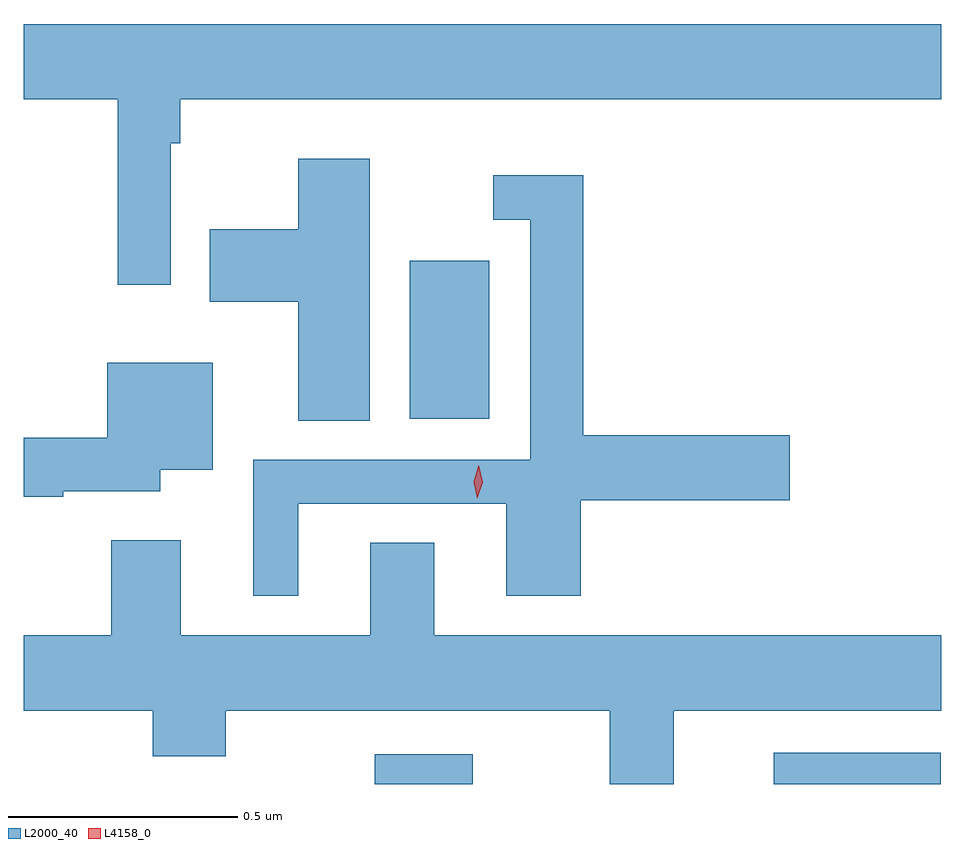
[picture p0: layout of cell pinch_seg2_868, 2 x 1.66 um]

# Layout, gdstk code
import gdstk
lib = gdstk.Library(unit=1e-6, precision=1e-09)
def R(c, l, rs):  # rectangles x0, y0, x1, y1
    for r in rs: c.add(gdstk.rectangle(r[:2], r[2:], *l))
def P(c, l, *ps):  # polygons
    for p in ps: c.add(gdstk.Polygon(p, *l))
L2000_40 = (2000, 40)
L4158_0 = (4158, 0)

pinch_seg2_868 = lib.new_cell('pinch_seg2_868')
R(pinch_seg2_868, L2000_40, [(826.389,622.168,826.603,622.233), (827.259,622.168,827.623,622.236), (826.466,622.964,826.639,623.308)])
P(pinch_seg2_868, L2000_40, [(825.945,623.564),(825.965,623.564),(825.965,623.66),(827.624,623.66),(827.624,623.824),(825.624,623.824),(825.624,623.66),(825.829,623.66),(825.829,623.256),(825.945,623.256)],
  [(826.378,623.53),(826.223,623.53),(826.223,623.377),(826.03,623.377),(826.03,623.219),(826.223,623.219),(826.223,622.96),(826.378,622.96)],
  [(826.222,622.779),(826.676,622.779),(826.676,622.578),(826.838,622.578),(826.838,622.786),(827.293,622.786),(827.293,622.928),(826.844,622.928),(826.844,623.494),(826.647,623.494),(826.647,623.397),(826.728,623.397),(826.728,622.875),(826.124,622.875),(826.124,622.578),(826.222,622.578)],
  [(825.71,622.806),(825.922,622.806),(825.922,622.853),(826.036,622.853),(826.036,623.086),(825.806,623.086),(825.806,622.922),(825.624,622.922),(825.624,622.794),(825.71,622.794)],
  [(826.901,622.168),(827.041,622.168),(827.041,622.328),(827.624,622.328),(827.624,622.492),(826.519,622.492),(826.519,622.694),(826.379,622.694),(826.379,622.492),(825.967,622.492),(825.967,622.699),(825.815,622.699),(825.815,622.492),(825.624,622.492),(825.624,622.328),(825.905,622.328),(825.905,622.229),(826.065,622.229),(826.065,622.328),(826.901,622.328)])
P(pinch_seg2_868, L4158_0, [(826.613,622.791),(826.613,622.791),(826.605,622.827),(826.616,622.862),(826.616,622.863),(826.616,622.862),(826.625,622.826),(826.613,622.791)])

lib.write_gds('pinch_seg2_868.gds')
